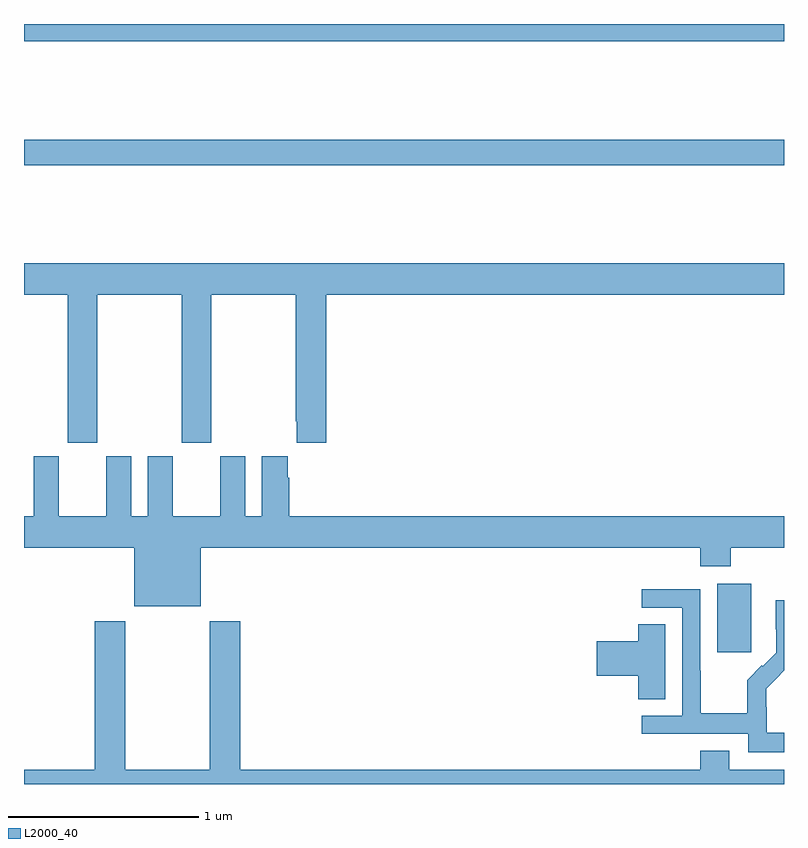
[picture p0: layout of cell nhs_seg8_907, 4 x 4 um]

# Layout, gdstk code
import gdstk
lib = gdstk.Library(unit=1e-6, precision=1e-09)
def R(c, l, rs):  # rectangles x0, y0, x1, y1
    for r in rs: c.add(gdstk.rectangle(r[:2], r[2:], *l))
def P(c, l, *ps):  # polygons
    for p in ps: c.add(gdstk.Polygon(p, *l))
L2000_40 = (2000, 40)

nhs_seg8_907 = lib.new_cell('nhs_seg8_907')
R(nhs_seg8_907, L2000_40, [(172.649,1138.593,172.828,1138.954), (169,1141.156,173,1141.292), (169,1141.808,173,1141.9)])
P(nhs_seg8_907, L2000_40, [(169.386,1140.476),(169.831,1140.476),(169.831,1139.697),(169.986,1139.697),(169.986,1140.476),(170.431,1140.476),(170.431,1139.809),(170.435,1139.809),(170.435,1139.697),(170.591,1139.697),(170.591,1140.476),(173,1140.476),(173,1140.64),(169,1140.64),(169,1140.476),(169.231,1140.476),(169.231,1139.697),(169.386,1139.697)],
  [(169.93,1139.144),(172.559,1139.144),(172.559,1139.045),(172.719,1139.045),(172.719,1139.144),(173,1139.144),(173,1139.308),(170.396,1139.308),(170.396,1139.513),(170.389,1139.513),(170.389,1139.626),(170.252,1139.626),(170.252,1139.308),(170.164,1139.308),(170.164,1139.626),(170.033,1139.626),(170.033,1139.308),(169.783,1139.308),(169.783,1139.626),(169.652,1139.626),(169.652,1139.308),(169.564,1139.308),(169.564,1139.626),(169.433,1139.626),(169.433,1139.308),(169.183,1139.308),(169.183,1139.626),(169.052,1139.626),(169.052,1139.308),(169,1139.308),(169,1139.144),(169.58,1139.144),(169.58,1138.835),(169.93,1138.835)],
  [(173,1138.171),(172.908,1138.171),(172.908,1138.305),(172.906,1138.305),(172.906,1138.402),(172.98,1138.476),(172.979,1138.477),(173,1138.498),(173,1138.868),(172.956,1138.868),(172.956,1138.714),(172.958,1138.714),(172.958,1138.592),(172.887,1138.521),(172.884,1138.524),(172.807,1138.447),(172.807,1138.273),(172.563,1138.273),(172.563,1138.496),(172.56,1138.496),(172.56,1138.926),(172.251,1138.926),(172.251,1138.827),(172.464,1138.827),(172.464,1138.26),(172.251,1138.26),(172.251,1138.164),(172.812,1138.164),(172.812,1138.067),(173,1138.067)],
  [(169.533,1138.756),(169.373,1138.756),(169.373,1137.976),(169,1137.976),(169,1137.9),(173,1137.9),(173,1137.976),(172.711,1137.976),(172.711,1138.075),(172.559,1138.075),(172.559,1137.976),(170.138,1137.976),(170.138,1138.756),(169.978,1138.756),(169.978,1137.976),(169.533,1137.976)],
  [(172.375,1138.742),(172.232,1138.742),(172.232,1138.652),(172.014,1138.652),(172.014,1138.469),(172.232,1138.469),(172.232,1138.345),(172.375,1138.345)])

lib.write_gds('nhs_seg8_907.gds')
